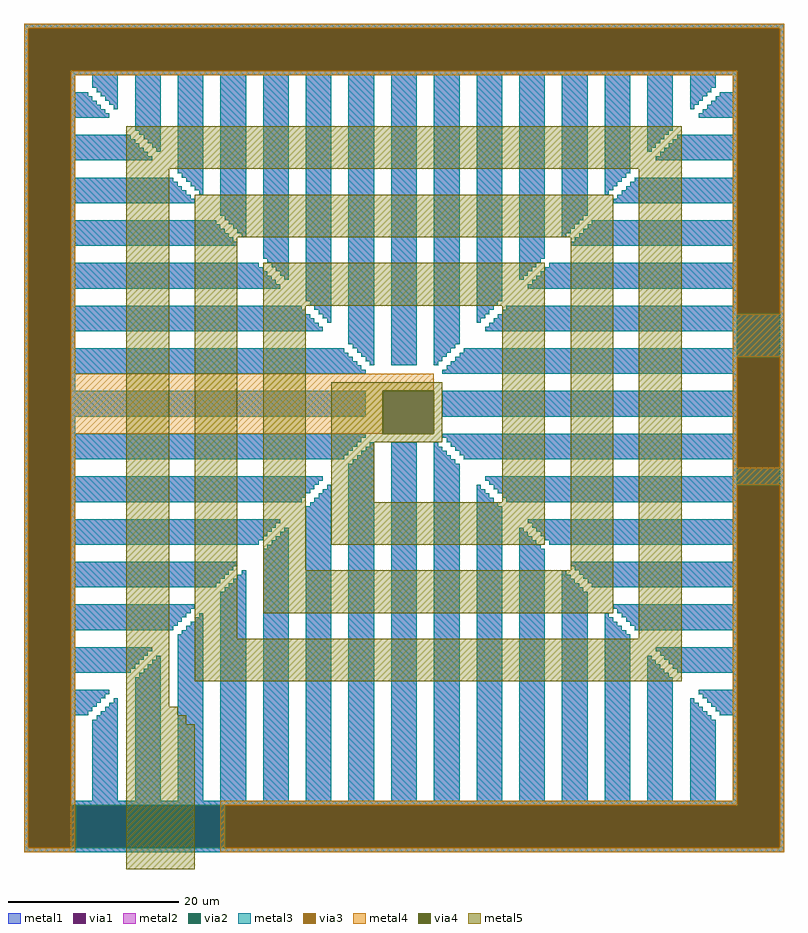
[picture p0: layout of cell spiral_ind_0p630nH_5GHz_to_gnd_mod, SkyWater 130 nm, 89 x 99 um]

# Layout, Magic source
magic
tech sky130B
<< metal1 >>
rect -1200 7650 7700 7700
rect -1200 -1950 -1150 7650
rect -650 7100 7150 7150
rect -650 6900 -600 7100
rect -400 6950 -100 7100
rect -350 6900 -100 6950
rect -650 6850 -450 6900
rect -300 6850 -100 6900
rect -650 6800 -400 6850
rect -250 6800 -100 6850
rect -650 6750 -350 6800
rect -200 6750 -100 6800
rect -650 6700 -300 6750
rect -150 6700 -100 6750
rect -650 6650 -250 6700
rect -650 6600 -200 6650
rect -650 6400 -600 6600
rect 100 6450 400 7100
rect 150 6400 400 6450
rect -650 6350 50 6400
rect 200 6350 400 6400
rect -650 6300 100 6350
rect 250 6300 400 6350
rect -650 6250 150 6300
rect 300 6250 400 6300
rect -650 6200 200 6250
rect 350 6200 400 6250
rect -650 6150 250 6200
rect -650 6100 300 6150
rect -650 5900 -600 6100
rect 600 5950 900 7100
rect 650 5900 900 5950
rect -650 5850 550 5900
rect 700 5850 900 5900
rect -650 5800 600 5850
rect 750 5800 900 5850
rect -650 5750 650 5800
rect 800 5750 900 5800
rect -650 5700 700 5750
rect 850 5700 900 5750
rect -650 5650 750 5700
rect -650 5600 800 5650
rect -650 5400 -600 5600
rect 1100 5450 1400 7100
rect 1150 5400 1400 5450
rect -650 5350 1050 5400
rect 1200 5350 1400 5400
rect -650 5300 1100 5350
rect 1250 5300 1400 5350
rect -650 5250 1150 5300
rect 1300 5250 1400 5300
rect -650 5200 1200 5250
rect 1350 5200 1400 5250
rect -650 5150 1250 5200
rect -650 5100 1300 5150
rect -650 4900 -600 5100
rect 1600 4950 1900 7100
rect 1650 4900 1900 4950
rect -650 4850 1550 4900
rect 1700 4850 1900 4900
rect -650 4800 1600 4850
rect 1750 4800 1900 4850
rect -650 4750 1650 4800
rect 1800 4750 1900 4800
rect -650 4700 1700 4750
rect 1850 4700 1900 4750
rect -650 4650 1750 4700
rect -650 4600 1800 4650
rect -650 4400 -600 4600
rect 2100 4450 2400 7100
rect 2150 4400 2400 4450
rect -650 4350 2050 4400
rect 2200 4350 2400 4400
rect -650 4300 2100 4350
rect 2250 4300 2400 4350
rect -650 4250 2150 4300
rect 2300 4250 2400 4300
rect -650 4200 2200 4250
rect 2350 4200 2400 4250
rect -650 4150 2250 4200
rect -650 4100 2300 4150
rect -650 3900 -600 4100
rect 2600 3950 2900 7100
rect 2650 3900 2900 3950
rect -650 3850 2550 3900
rect 2700 3850 2900 3900
rect -650 3800 2600 3850
rect 2750 3800 2900 3850
rect -650 3750 2650 3800
rect 2800 3750 2900 3800
rect -650 3700 2700 3750
rect 2850 3700 2900 3750
rect 3100 3700 3400 7100
rect 3600 3950 3900 7100
rect 4100 4450 4400 7100
rect 4600 4950 4900 7100
rect 5100 5450 5400 7100
rect 5600 5950 5900 7100
rect 6100 6450 6400 7100
rect 6600 6950 6900 7100
rect 6600 6900 6850 6950
rect 7100 6900 7150 7100
rect 6600 6850 6800 6900
rect 6950 6850 7150 6900
rect 6600 6800 6750 6850
rect 6900 6800 7150 6850
rect 6600 6750 6700 6800
rect 6850 6750 7150 6800
rect 6600 6700 6650 6750
rect 6800 6700 7150 6750
rect 6750 6650 7150 6700
rect 6700 6600 7150 6650
rect 6100 6400 6350 6450
rect 7100 6400 7150 6600
rect 6100 6350 6300 6400
rect 6450 6350 7150 6400
rect 6100 6300 6250 6350
rect 6400 6300 7150 6350
rect 6100 6250 6200 6300
rect 6350 6250 7150 6300
rect 6100 6200 6150 6250
rect 6300 6200 7150 6250
rect 6250 6150 7150 6200
rect 6200 6100 7150 6150
rect 5600 5900 5850 5950
rect 7100 5900 7150 6100
rect 5600 5850 5800 5900
rect 5950 5850 7150 5900
rect 5600 5800 5750 5850
rect 5900 5800 7150 5850
rect 5600 5750 5700 5800
rect 5850 5750 7150 5800
rect 5600 5700 5650 5750
rect 5800 5700 7150 5750
rect 5750 5650 7150 5700
rect 5700 5600 7150 5650
rect 5100 5400 5350 5450
rect 7100 5400 7150 5600
rect 5100 5350 5300 5400
rect 5450 5350 7150 5400
rect 5100 5300 5250 5350
rect 5400 5300 7150 5350
rect 5100 5250 5200 5300
rect 5350 5250 7150 5300
rect 5100 5200 5150 5250
rect 5300 5200 7150 5250
rect 5250 5150 7150 5200
rect 5200 5100 7150 5150
rect 4600 4900 4850 4950
rect 7100 4900 7150 5100
rect 4600 4850 4800 4900
rect 4950 4850 7150 4900
rect 4600 4800 4750 4850
rect 4900 4800 7150 4850
rect 4600 4750 4700 4800
rect 4850 4750 7150 4800
rect 4600 4700 4650 4750
rect 4800 4700 7150 4750
rect 4750 4650 7150 4700
rect 4700 4600 7150 4650
rect 4100 4400 4350 4450
rect 7100 4400 7150 4600
rect 4100 4350 4300 4400
rect 4450 4350 7150 4400
rect 4100 4300 4250 4350
rect 4400 4300 7150 4350
rect 4100 4250 4200 4300
rect 4350 4250 7150 4300
rect 4100 4200 4150 4250
rect 4300 4200 7150 4250
rect 4250 4150 7150 4200
rect 4200 4100 7150 4150
rect 3600 3900 3850 3950
rect 7100 3900 7150 4100
rect 3600 3850 3800 3900
rect 3950 3850 7150 3900
rect 3600 3800 3750 3850
rect 3900 3800 7150 3850
rect 3600 3750 3700 3800
rect 3850 3750 7150 3800
rect 3600 3700 3650 3750
rect 3800 3700 7150 3750
rect -650 3650 2750 3700
rect 3750 3650 7150 3700
rect -650 3600 2800 3650
rect 3700 3600 7150 3650
rect -650 3400 -600 3600
rect 7100 3400 7150 3600
rect -650 3100 2800 3400
rect 3700 3100 7150 3400
rect -650 2900 -600 3100
rect 7100 2900 7150 3100
rect -650 2850 2800 2900
rect 3700 2850 7150 2900
rect -650 2800 2750 2850
rect 3750 2800 7150 2850
rect -650 2750 2700 2800
rect 2850 2750 2900 2800
rect -650 2700 2650 2750
rect 2800 2700 2900 2750
rect -650 2650 2600 2700
rect 2750 2650 2900 2700
rect -650 2600 2550 2650
rect 2700 2600 2900 2650
rect -650 2400 -600 2600
rect 2650 2550 2900 2600
rect -650 2350 2300 2400
rect -650 2300 2250 2350
rect -650 2250 2200 2300
rect 2350 2250 2400 2300
rect -650 2200 2150 2250
rect 2300 2200 2400 2250
rect -650 2150 2100 2200
rect 2250 2150 2400 2200
rect -650 2100 2050 2150
rect 2200 2100 2400 2150
rect -650 1900 -600 2100
rect 2150 2050 2400 2100
rect -650 1850 1800 1900
rect -650 1800 1750 1850
rect -650 1750 1700 1800
rect 1850 1750 1900 1800
rect -650 1700 1650 1750
rect 1800 1700 1900 1750
rect -650 1650 1600 1700
rect 1750 1650 1900 1700
rect -650 1600 1550 1650
rect 1700 1600 1900 1650
rect -650 1400 -600 1600
rect 1650 1550 1900 1600
rect -650 1350 1300 1400
rect -650 1300 1250 1350
rect -650 1250 1200 1300
rect 1350 1250 1400 1300
rect -650 1200 1150 1250
rect 1300 1200 1400 1250
rect -650 1150 1100 1200
rect 1250 1150 1400 1200
rect -650 1100 1050 1150
rect 1200 1100 1400 1150
rect -650 900 -600 1100
rect 1150 1050 1400 1100
rect -650 850 800 900
rect -650 800 750 850
rect -650 750 700 800
rect 850 750 900 800
rect -650 700 650 750
rect 800 700 900 750
rect -650 650 600 700
rect 750 650 900 700
rect -650 600 550 650
rect 700 600 900 650
rect -650 400 -600 600
rect 650 550 900 600
rect -650 350 300 400
rect -650 300 250 350
rect -650 250 200 300
rect 350 250 400 300
rect -650 200 150 250
rect 300 200 400 250
rect -650 150 100 200
rect 250 150 400 200
rect -650 100 50 150
rect 200 100 400 150
rect -650 -100 -600 100
rect 150 50 400 100
rect -650 -150 -200 -100
rect -650 -200 -250 -150
rect -650 -250 -300 -200
rect -150 -250 -100 -200
rect -650 -300 -350 -250
rect -200 -300 -100 -250
rect -650 -350 -400 -300
rect -250 -350 -100 -300
rect -650 -400 -450 -350
rect -300 -400 -100 -350
rect -650 -1400 -600 -400
rect -350 -450 -100 -400
rect -400 -1400 -100 -450
rect 100 -1400 400 50
rect 600 -1400 900 550
rect 1100 -1400 1400 1050
rect 1600 -1400 1900 1550
rect 2100 -1400 2400 2050
rect 2600 -1400 2900 2550
rect 3100 -1400 3400 2800
rect 3600 2750 3650 2800
rect 3800 2750 7150 2800
rect 3600 2700 3700 2750
rect 3850 2700 7150 2750
rect 3600 2650 3750 2700
rect 3900 2650 7150 2700
rect 3600 2600 3800 2650
rect 3950 2600 7150 2650
rect 3600 2550 3850 2600
rect 3600 -1400 3900 2550
rect 7100 2400 7150 2600
rect 4200 2350 7150 2400
rect 4250 2300 7150 2350
rect 4100 2250 4150 2300
rect 4300 2250 7150 2300
rect 4100 2200 4200 2250
rect 4350 2200 7150 2250
rect 4100 2150 4250 2200
rect 4400 2150 7150 2200
rect 4100 2100 4300 2150
rect 4450 2100 7150 2150
rect 4100 2050 4350 2100
rect 4100 -1400 4400 2050
rect 7100 1900 7150 2100
rect 4700 1850 7150 1900
rect 4750 1800 7150 1850
rect 4600 1750 4650 1800
rect 4800 1750 7150 1800
rect 4600 1700 4700 1750
rect 4850 1700 7150 1750
rect 4600 1650 4750 1700
rect 4900 1650 7150 1700
rect 4600 1600 4800 1650
rect 4950 1600 7150 1650
rect 4600 1550 4850 1600
rect 4600 -1400 4900 1550
rect 7100 1400 7150 1600
rect 5200 1350 7150 1400
rect 5250 1300 7150 1350
rect 5100 1250 5150 1300
rect 5300 1250 7150 1300
rect 5100 1200 5200 1250
rect 5350 1200 7150 1250
rect 5100 1150 5250 1200
rect 5400 1150 7150 1200
rect 5100 1100 5300 1150
rect 5450 1100 7150 1150
rect 5100 1050 5350 1100
rect 5100 -1400 5400 1050
rect 7100 900 7150 1100
rect 5700 850 7150 900
rect 5750 800 7150 850
rect 5600 750 5650 800
rect 5800 750 7150 800
rect 5600 700 5700 750
rect 5850 700 7150 750
rect 5600 650 5750 700
rect 5900 650 7150 700
rect 5600 600 5800 650
rect 5950 600 7150 650
rect 5600 550 5850 600
rect 5600 -1400 5900 550
rect 7100 400 7150 600
rect 6200 350 7150 400
rect 6250 300 7150 350
rect 6100 250 6150 300
rect 6300 250 7150 300
rect 6100 200 6200 250
rect 6350 200 7150 250
rect 6100 150 6250 200
rect 6400 150 7150 200
rect 6100 100 6300 150
rect 6450 100 7150 150
rect 6100 50 6350 100
rect 6100 -1400 6400 50
rect 7100 -100 7150 100
rect 6700 -150 7150 -100
rect 6750 -200 7150 -150
rect 6600 -250 6650 -200
rect 6800 -250 7150 -200
rect 6600 -300 6700 -250
rect 6850 -300 7150 -250
rect 6600 -350 6750 -300
rect 6900 -350 7150 -300
rect 6600 -400 6800 -350
rect 6950 -400 7150 -350
rect 6600 -450 6850 -400
rect 6600 -1400 6900 -450
rect 7100 -1400 7150 -400
rect -650 -1450 7150 -1400
rect 7650 -1950 7700 7650
rect -1200 -2000 7700 -1950
<< via1 >>
rect -1150 7150 7650 7650
rect -1150 -1450 -650 7150
rect 7150 -1450 7650 7150
rect -1150 -1950 7650 -1450
<< metal2 >>
rect -1200 7650 7700 7700
rect -1200 -1950 -1150 7650
rect -650 7100 7150 7150
rect -650 6900 -600 7100
rect -400 6950 -100 7100
rect -350 6900 -100 6950
rect -650 6850 -450 6900
rect -300 6850 -100 6900
rect -650 6800 -400 6850
rect -250 6800 -100 6850
rect -650 6750 -350 6800
rect -200 6750 -100 6800
rect -650 6700 -300 6750
rect -150 6700 -100 6750
rect -650 6650 -250 6700
rect -650 6600 -200 6650
rect -650 6400 -600 6600
rect 100 6450 400 7100
rect 150 6400 400 6450
rect -650 6350 50 6400
rect 200 6350 400 6400
rect -650 6300 100 6350
rect 250 6300 400 6350
rect -650 6250 150 6300
rect 300 6250 400 6300
rect -650 6200 200 6250
rect 350 6200 400 6250
rect -650 6150 250 6200
rect -650 6100 300 6150
rect -650 5900 -600 6100
rect 600 5950 900 7100
rect 650 5900 900 5950
rect -650 5850 550 5900
rect 700 5850 900 5900
rect -650 5800 600 5850
rect 750 5800 900 5850
rect -650 5750 650 5800
rect 800 5750 900 5800
rect -650 5700 700 5750
rect 850 5700 900 5750
rect -650 5650 750 5700
rect -650 5600 800 5650
rect -650 5400 -600 5600
rect 1100 5450 1400 7100
rect 1150 5400 1400 5450
rect -650 5350 1050 5400
rect 1200 5350 1400 5400
rect -650 5300 1100 5350
rect 1250 5300 1400 5350
rect -650 5250 1150 5300
rect 1300 5250 1400 5300
rect -650 5200 1200 5250
rect 1350 5200 1400 5250
rect -650 5150 1250 5200
rect -650 5100 1300 5150
rect -650 4900 -600 5100
rect 1600 4950 1900 7100
rect 1650 4900 1900 4950
rect -650 4850 1550 4900
rect 1700 4850 1900 4900
rect -650 4800 1600 4850
rect 1750 4800 1900 4850
rect -650 4750 1650 4800
rect 1800 4750 1900 4800
rect -650 4700 1700 4750
rect 1850 4700 1900 4750
rect -650 4650 1750 4700
rect -650 4600 1800 4650
rect -650 4400 -600 4600
rect 2100 4450 2400 7100
rect 2150 4400 2400 4450
rect -650 4350 2050 4400
rect 2200 4350 2400 4400
rect -650 4300 2100 4350
rect 2250 4300 2400 4350
rect -650 4250 2150 4300
rect 2300 4250 2400 4300
rect -650 4200 2200 4250
rect 2350 4200 2400 4250
rect -650 4150 2250 4200
rect -650 4100 2300 4150
rect -650 3900 -600 4100
rect 2600 3950 2900 7100
rect 2650 3900 2900 3950
rect -650 3850 2550 3900
rect 2700 3850 2900 3900
rect -650 3800 2600 3850
rect 2750 3800 2900 3850
rect -650 3750 2650 3800
rect 2800 3750 2900 3800
rect -650 3700 2700 3750
rect 2850 3700 2900 3750
rect 3100 3700 3400 7100
rect 3600 3950 3900 7100
rect 4100 4450 4400 7100
rect 4600 4950 4900 7100
rect 5100 5450 5400 7100
rect 5600 5950 5900 7100
rect 6100 6450 6400 7100
rect 6600 6950 6900 7100
rect 6600 6900 6850 6950
rect 7100 6900 7150 7100
rect 6600 6850 6800 6900
rect 6950 6850 7150 6900
rect 6600 6800 6750 6850
rect 6900 6800 7150 6850
rect 6600 6750 6700 6800
rect 6850 6750 7150 6800
rect 6600 6700 6650 6750
rect 6800 6700 7150 6750
rect 6750 6650 7150 6700
rect 6700 6600 7150 6650
rect 6100 6400 6350 6450
rect 7100 6400 7150 6600
rect 6100 6350 6300 6400
rect 6450 6350 7150 6400
rect 6100 6300 6250 6350
rect 6400 6300 7150 6350
rect 6100 6250 6200 6300
rect 6350 6250 7150 6300
rect 6100 6200 6150 6250
rect 6300 6200 7150 6250
rect 6250 6150 7150 6200
rect 6200 6100 7150 6150
rect 5600 5900 5850 5950
rect 7100 5900 7150 6100
rect 5600 5850 5800 5900
rect 5950 5850 7150 5900
rect 5600 5800 5750 5850
rect 5900 5800 7150 5850
rect 5600 5750 5700 5800
rect 5850 5750 7150 5800
rect 5600 5700 5650 5750
rect 5800 5700 7150 5750
rect 5750 5650 7150 5700
rect 5700 5600 7150 5650
rect 5100 5400 5350 5450
rect 7100 5400 7150 5600
rect 5100 5350 5300 5400
rect 5450 5350 7150 5400
rect 5100 5300 5250 5350
rect 5400 5300 7150 5350
rect 5100 5250 5200 5300
rect 5350 5250 7150 5300
rect 5100 5200 5150 5250
rect 5300 5200 7150 5250
rect 5250 5150 7150 5200
rect 5200 5100 7150 5150
rect 4600 4900 4850 4950
rect 7100 4900 7150 5100
rect 4600 4850 4800 4900
rect 4950 4850 7150 4900
rect 4600 4800 4750 4850
rect 4900 4800 7150 4850
rect 4600 4750 4700 4800
rect 4850 4750 7150 4800
rect 4600 4700 4650 4750
rect 4800 4700 7150 4750
rect 4750 4650 7150 4700
rect 4700 4600 7150 4650
rect 4100 4400 4350 4450
rect 7100 4400 7150 4600
rect 4100 4350 4300 4400
rect 4450 4350 7150 4400
rect 4100 4300 4250 4350
rect 4400 4300 7150 4350
rect 4100 4250 4200 4300
rect 4350 4250 7150 4300
rect 4100 4200 4150 4250
rect 4300 4200 7150 4250
rect 4250 4150 7150 4200
rect 4200 4100 7150 4150
rect 3600 3900 3850 3950
rect 7100 3900 7150 4100
rect 3600 3850 3800 3900
rect 3950 3850 7150 3900
rect 3600 3800 3750 3850
rect 3900 3800 7150 3850
rect 3600 3750 3700 3800
rect 3850 3750 7150 3800
rect 3600 3700 3650 3750
rect 3800 3700 7150 3750
rect -650 3650 2750 3700
rect 3750 3650 7150 3700
rect -650 3600 2800 3650
rect 3700 3600 7150 3650
rect -650 3400 -600 3600
rect 7100 3400 7150 3600
rect -650 3100 2800 3400
rect 3700 3100 7150 3400
rect -650 2900 -600 3100
rect 7100 2900 7150 3100
rect -650 2850 2800 2900
rect 3700 2850 7150 2900
rect -650 2800 2750 2850
rect 3750 2800 7150 2850
rect -650 2750 2700 2800
rect 2850 2750 2900 2800
rect -650 2700 2650 2750
rect 2800 2700 2900 2750
rect -650 2650 2600 2700
rect 2750 2650 2900 2700
rect -650 2600 2550 2650
rect 2700 2600 2900 2650
rect -650 2400 -600 2600
rect 2650 2550 2900 2600
rect -650 2350 2300 2400
rect -650 2300 2250 2350
rect -650 2250 2200 2300
rect 2350 2250 2400 2300
rect -650 2200 2150 2250
rect 2300 2200 2400 2250
rect -650 2150 2100 2200
rect 2250 2150 2400 2200
rect -650 2100 2050 2150
rect 2200 2100 2400 2150
rect -650 1900 -600 2100
rect 2150 2050 2400 2100
rect -650 1850 1800 1900
rect -650 1800 1750 1850
rect -650 1750 1700 1800
rect 1850 1750 1900 1800
rect -650 1700 1650 1750
rect 1800 1700 1900 1750
rect -650 1650 1600 1700
rect 1750 1650 1900 1700
rect -650 1600 1550 1650
rect 1700 1600 1900 1650
rect -650 1400 -600 1600
rect 1650 1550 1900 1600
rect -650 1350 1300 1400
rect -650 1300 1250 1350
rect -650 1250 1200 1300
rect 1350 1250 1400 1300
rect -650 1200 1150 1250
rect 1300 1200 1400 1250
rect -650 1150 1100 1200
rect 1250 1150 1400 1200
rect -650 1100 1050 1150
rect 1200 1100 1400 1150
rect -650 900 -600 1100
rect 1150 1050 1400 1100
rect -650 850 800 900
rect -650 800 750 850
rect -650 750 700 800
rect 850 750 900 800
rect -650 700 650 750
rect 800 700 900 750
rect -650 650 600 700
rect 750 650 900 700
rect -650 600 550 650
rect 700 600 900 650
rect -650 400 -600 600
rect 650 550 900 600
rect -650 350 300 400
rect -650 300 250 350
rect -650 250 200 300
rect 350 250 400 300
rect -650 200 150 250
rect 300 200 400 250
rect -650 150 100 200
rect 250 150 400 200
rect -650 100 50 150
rect 200 100 400 150
rect -650 -100 -600 100
rect 150 50 400 100
rect -650 -150 -200 -100
rect -650 -200 -250 -150
rect -650 -250 -300 -200
rect -150 -250 -100 -200
rect -650 -300 -350 -250
rect -200 -300 -100 -250
rect -650 -350 -400 -300
rect -250 -350 -100 -300
rect -650 -400 -450 -350
rect -300 -400 -100 -350
rect -650 -1400 -600 -400
rect -350 -450 -100 -400
rect -400 -1400 -100 -450
rect 100 -1400 400 50
rect 600 -1400 900 550
rect 1100 -1400 1400 1050
rect 1600 -1400 1900 1550
rect 2100 -1400 2400 2050
rect 2600 -1400 2900 2550
rect 3100 -1400 3400 2800
rect 3600 2750 3650 2800
rect 3800 2750 7150 2800
rect 3600 2700 3700 2750
rect 3850 2700 7150 2750
rect 3600 2650 3750 2700
rect 3900 2650 7150 2700
rect 3600 2600 3800 2650
rect 3950 2600 7150 2650
rect 3600 2550 3850 2600
rect 3600 -1400 3900 2550
rect 7100 2400 7150 2600
rect 4200 2350 7150 2400
rect 4250 2300 7150 2350
rect 4100 2250 4150 2300
rect 4300 2250 7150 2300
rect 4100 2200 4200 2250
rect 4350 2200 7150 2250
rect 4100 2150 4250 2200
rect 4400 2150 7150 2200
rect 4100 2100 4300 2150
rect 4450 2100 7150 2150
rect 4100 2050 4350 2100
rect 4100 -1400 4400 2050
rect 7100 1900 7150 2100
rect 4700 1850 7150 1900
rect 4750 1800 7150 1850
rect 4600 1750 4650 1800
rect 4800 1750 7150 1800
rect 4600 1700 4700 1750
rect 4850 1700 7150 1750
rect 4600 1650 4750 1700
rect 4900 1650 7150 1700
rect 4600 1600 4800 1650
rect 4950 1600 7150 1650
rect 4600 1550 4850 1600
rect 4600 -1400 4900 1550
rect 7100 1400 7150 1600
rect 5200 1350 7150 1400
rect 5250 1300 7150 1350
rect 5100 1250 5150 1300
rect 5300 1250 7150 1300
rect 5100 1200 5200 1250
rect 5350 1200 7150 1250
rect 5100 1150 5250 1200
rect 5400 1150 7150 1200
rect 5100 1100 5300 1150
rect 5450 1100 7150 1150
rect 5100 1050 5350 1100
rect 5100 -1400 5400 1050
rect 7100 900 7150 1100
rect 5700 850 7150 900
rect 5750 800 7150 850
rect 5600 750 5650 800
rect 5800 750 7150 800
rect 5600 700 5700 750
rect 5850 700 7150 750
rect 5600 650 5750 700
rect 5900 650 7150 700
rect 5600 600 5800 650
rect 5950 600 7150 650
rect 5600 550 5850 600
rect 5600 -1400 5900 550
rect 7100 400 7150 600
rect 6200 350 7150 400
rect 6250 300 7150 350
rect 6100 250 6150 300
rect 6300 250 7150 300
rect 6100 200 6200 250
rect 6350 200 7150 250
rect 6100 150 6250 200
rect 6400 150 7150 200
rect 6100 100 6300 150
rect 6450 100 7150 150
rect 6100 50 6350 100
rect 6100 -1400 6400 50
rect 7100 -100 7150 100
rect 6700 -150 7150 -100
rect 6750 -200 7150 -150
rect 6600 -250 6650 -200
rect 6800 -250 7150 -200
rect 6600 -300 6700 -250
rect 6850 -300 7150 -250
rect 6600 -350 6750 -300
rect 6900 -350 7150 -300
rect 6600 -400 6800 -350
rect 6950 -400 7150 -350
rect 6600 -450 6850 -400
rect 6600 -1400 6900 -450
rect 7100 -1400 7150 -400
rect -650 -1450 7150 -1400
rect 7650 -1950 7700 7650
rect -1200 -2000 7700 -1950
<< via2 >>
rect -1150 7150 7650 7650
rect -1150 -1450 -650 7150
rect 7150 -1450 7650 7150
rect -1150 -1950 7650 -1450
<< metal3 >>
rect -1200 7650 7700 7700
rect -1200 -1950 -1150 7650
rect -650 7100 7150 7150
rect -650 6900 -600 7100
rect -400 6950 -100 7100
rect -350 6900 -100 6950
rect -650 6850 -450 6900
rect -300 6850 -100 6900
rect -650 6800 -400 6850
rect -250 6800 -100 6850
rect -650 6750 -350 6800
rect -200 6750 -100 6800
rect -650 6700 -300 6750
rect -150 6700 -100 6750
rect -650 6650 -250 6700
rect -650 6600 -200 6650
rect -650 6400 -600 6600
rect 100 6450 400 7100
rect 150 6400 400 6450
rect -650 6350 50 6400
rect 200 6350 400 6400
rect -650 6300 100 6350
rect 250 6300 400 6350
rect -650 6250 150 6300
rect 300 6250 400 6300
rect -650 6200 200 6250
rect 350 6200 400 6250
rect -650 6150 250 6200
rect -650 6100 300 6150
rect -650 5900 -600 6100
rect 600 5950 900 7100
rect 650 5900 900 5950
rect -650 5850 550 5900
rect 700 5850 900 5900
rect -650 5800 600 5850
rect 750 5800 900 5850
rect -650 5750 650 5800
rect 800 5750 900 5800
rect -650 5700 700 5750
rect 850 5700 900 5750
rect -650 5650 750 5700
rect -650 5600 800 5650
rect -650 5400 -600 5600
rect 1100 5450 1400 7100
rect 1150 5400 1400 5450
rect -650 5350 1050 5400
rect 1200 5350 1400 5400
rect -650 5300 1100 5350
rect 1250 5300 1400 5350
rect -650 5250 1150 5300
rect 1300 5250 1400 5300
rect -650 5200 1200 5250
rect 1350 5200 1400 5250
rect -650 5150 1250 5200
rect -650 5100 1300 5150
rect -650 4900 -600 5100
rect 1600 4950 1900 7100
rect 1650 4900 1900 4950
rect -650 4850 1550 4900
rect 1700 4850 1900 4900
rect -650 4800 1600 4850
rect 1750 4800 1900 4850
rect -650 4750 1650 4800
rect 1800 4750 1900 4800
rect -650 4700 1700 4750
rect 1850 4700 1900 4750
rect -650 4650 1750 4700
rect -650 4600 1800 4650
rect -650 4400 -600 4600
rect 2100 4450 2400 7100
rect 2150 4400 2400 4450
rect -650 4350 2050 4400
rect 2200 4350 2400 4400
rect -650 4300 2100 4350
rect 2250 4300 2400 4350
rect -650 4250 2150 4300
rect 2300 4250 2400 4300
rect -650 4200 2200 4250
rect 2350 4200 2400 4250
rect -650 4150 2250 4200
rect -650 4100 2300 4150
rect -650 3900 -600 4100
rect 2600 3950 2900 7100
rect 2650 3900 2900 3950
rect -650 3850 2550 3900
rect 2700 3850 2900 3900
rect -650 3800 2600 3850
rect 2750 3800 2900 3850
rect -650 3750 2650 3800
rect 2800 3750 2900 3800
rect -650 3700 2700 3750
rect 2850 3700 2900 3750
rect 3100 3700 3400 7100
rect 3600 3950 3900 7100
rect 4100 4450 4400 7100
rect 4600 4950 4900 7100
rect 5100 5450 5400 7100
rect 5600 5950 5900 7100
rect 6100 6450 6400 7100
rect 6600 6950 6900 7100
rect 6600 6900 6850 6950
rect 7100 6900 7150 7100
rect 6600 6850 6800 6900
rect 6950 6850 7150 6900
rect 6600 6800 6750 6850
rect 6900 6800 7150 6850
rect 6600 6750 6700 6800
rect 6850 6750 7150 6800
rect 6600 6700 6650 6750
rect 6800 6700 7150 6750
rect 6750 6650 7150 6700
rect 6700 6600 7150 6650
rect 6100 6400 6350 6450
rect 7100 6400 7150 6600
rect 6100 6350 6300 6400
rect 6450 6350 7150 6400
rect 6100 6300 6250 6350
rect 6400 6300 7150 6350
rect 6100 6250 6200 6300
rect 6350 6250 7150 6300
rect 6100 6200 6150 6250
rect 6300 6200 7150 6250
rect 6250 6150 7150 6200
rect 6200 6100 7150 6150
rect 5600 5900 5850 5950
rect 7100 5900 7150 6100
rect 5600 5850 5800 5900
rect 5950 5850 7150 5900
rect 5600 5800 5750 5850
rect 5900 5800 7150 5850
rect 5600 5750 5700 5800
rect 5850 5750 7150 5800
rect 5600 5700 5650 5750
rect 5800 5700 7150 5750
rect 5750 5650 7150 5700
rect 5700 5600 7150 5650
rect 5100 5400 5350 5450
rect 7100 5400 7150 5600
rect 5100 5350 5300 5400
rect 5450 5350 7150 5400
rect 5100 5300 5250 5350
rect 5400 5300 7150 5350
rect 5100 5250 5200 5300
rect 5350 5250 7150 5300
rect 5100 5200 5150 5250
rect 5300 5200 7150 5250
rect 5250 5150 7150 5200
rect 5200 5100 7150 5150
rect 4600 4900 4850 4950
rect 7100 4900 7150 5100
rect 4600 4850 4800 4900
rect 4950 4850 7150 4900
rect 4600 4800 4750 4850
rect 4900 4800 7150 4850
rect 4600 4750 4700 4800
rect 4850 4750 7150 4800
rect 4600 4700 4650 4750
rect 4800 4700 7150 4750
rect 4750 4650 7150 4700
rect 4700 4600 7150 4650
rect 4100 4400 4350 4450
rect 7100 4400 7150 4600
rect 4100 4350 4300 4400
rect 4450 4350 7150 4400
rect 4100 4300 4250 4350
rect 4400 4300 7150 4350
rect 4100 4250 4200 4300
rect 4350 4250 7150 4300
rect 4100 4200 4150 4250
rect 4300 4200 7150 4250
rect 4250 4150 7150 4200
rect 4200 4100 7150 4150
rect 3600 3900 3850 3950
rect 7100 3900 7150 4100
rect 3600 3850 3800 3900
rect 3950 3850 7150 3900
rect 3600 3800 3750 3850
rect 3900 3800 7150 3850
rect 3600 3750 3700 3800
rect 3850 3750 7150 3800
rect 3600 3700 3650 3750
rect 3800 3700 7150 3750
rect -650 3650 2750 3700
rect 3750 3650 7150 3700
rect -650 3600 2800 3650
rect 3700 3600 7150 3650
rect -650 3400 -600 3600
rect 7100 3400 7150 3600
rect -650 3100 2800 3400
rect 3700 3100 7150 3400
rect -650 2900 -600 3100
rect 7100 2900 7150 3100
rect -650 2850 2800 2900
rect 3700 2850 7150 2900
rect -650 2800 2750 2850
rect 3750 2800 7150 2850
rect -650 2750 2700 2800
rect 2850 2750 2900 2800
rect -650 2700 2650 2750
rect 2800 2700 2900 2750
rect -650 2650 2600 2700
rect 2750 2650 2900 2700
rect -650 2600 2550 2650
rect 2700 2600 2900 2650
rect -650 2400 -600 2600
rect 2650 2550 2900 2600
rect -650 2350 2300 2400
rect -650 2300 2250 2350
rect -650 2250 2200 2300
rect 2350 2250 2400 2300
rect -650 2200 2150 2250
rect 2300 2200 2400 2250
rect -650 2150 2100 2200
rect 2250 2150 2400 2200
rect -650 2100 2050 2150
rect 2200 2100 2400 2150
rect -650 1900 -600 2100
rect 2150 2050 2400 2100
rect -650 1850 1800 1900
rect -650 1800 1750 1850
rect -650 1750 1700 1800
rect 1850 1750 1900 1800
rect -650 1700 1650 1750
rect 1800 1700 1900 1750
rect -650 1650 1600 1700
rect 1750 1650 1900 1700
rect -650 1600 1550 1650
rect 1700 1600 1900 1650
rect -650 1400 -600 1600
rect 1650 1550 1900 1600
rect -650 1350 1300 1400
rect -650 1300 1250 1350
rect -650 1250 1200 1300
rect 1350 1250 1400 1300
rect -650 1200 1150 1250
rect 1300 1200 1400 1250
rect -650 1150 1100 1200
rect 1250 1150 1400 1200
rect -650 1100 1050 1150
rect 1200 1100 1400 1150
rect -650 900 -600 1100
rect 1150 1050 1400 1100
rect -650 850 800 900
rect -650 800 750 850
rect -650 750 700 800
rect 850 750 900 800
rect -650 700 650 750
rect 800 700 900 750
rect -650 650 600 700
rect 750 650 900 700
rect -650 600 550 650
rect 700 600 900 650
rect -650 400 -600 600
rect 650 550 900 600
rect -650 350 300 400
rect -650 300 250 350
rect -650 250 200 300
rect 350 250 400 300
rect -650 200 150 250
rect 300 200 400 250
rect -650 150 100 200
rect 250 150 400 200
rect -650 100 50 150
rect 200 100 400 150
rect -650 -100 -600 100
rect 150 50 400 100
rect -650 -150 -200 -100
rect -650 -200 -250 -150
rect -650 -250 -300 -200
rect -150 -250 -100 -200
rect -650 -300 -350 -250
rect -200 -300 -100 -250
rect -650 -350 -400 -300
rect -250 -350 -100 -300
rect -650 -400 -450 -350
rect -300 -400 -100 -350
rect -650 -1400 -600 -400
rect -350 -450 -100 -400
rect -400 -1400 -100 -450
rect 100 -1400 400 50
rect 600 -1400 900 550
rect 1100 -1400 1400 1050
rect 1600 -1400 1900 1550
rect 2100 -1400 2400 2050
rect 2600 -1400 2900 2550
rect 3100 -1400 3400 2800
rect 3600 2750 3650 2800
rect 3800 2750 7150 2800
rect 3600 2700 3700 2750
rect 3850 2700 7150 2750
rect 3600 2650 3750 2700
rect 3900 2650 7150 2700
rect 3600 2600 3800 2650
rect 3950 2600 7150 2650
rect 3600 2550 3850 2600
rect 3600 -1400 3900 2550
rect 7100 2400 7150 2600
rect 4200 2350 7150 2400
rect 4250 2300 7150 2350
rect 4100 2250 4150 2300
rect 4300 2250 7150 2300
rect 4100 2200 4200 2250
rect 4350 2200 7150 2250
rect 4100 2150 4250 2200
rect 4400 2150 7150 2200
rect 4100 2100 4300 2150
rect 4450 2100 7150 2150
rect 4100 2050 4350 2100
rect 4100 -1400 4400 2050
rect 7100 1900 7150 2100
rect 4700 1850 7150 1900
rect 4750 1800 7150 1850
rect 4600 1750 4650 1800
rect 4800 1750 7150 1800
rect 4600 1700 4700 1750
rect 4850 1700 7150 1750
rect 4600 1650 4750 1700
rect 4900 1650 7150 1700
rect 4600 1600 4800 1650
rect 4950 1600 7150 1650
rect 4600 1550 4850 1600
rect 4600 -1400 4900 1550
rect 7100 1400 7150 1600
rect 5200 1350 7150 1400
rect 5250 1300 7150 1350
rect 5100 1250 5150 1300
rect 5300 1250 7150 1300
rect 5100 1200 5200 1250
rect 5350 1200 7150 1250
rect 5100 1150 5250 1200
rect 5400 1150 7150 1200
rect 5100 1100 5300 1150
rect 5450 1100 7150 1150
rect 5100 1050 5350 1100
rect 5100 -1400 5400 1050
rect 7100 900 7150 1100
rect 5700 850 7150 900
rect 5750 800 7150 850
rect 5600 750 5650 800
rect 5800 750 7150 800
rect 5600 700 5700 750
rect 5850 700 7150 750
rect 5600 650 5750 700
rect 5900 650 7150 700
rect 5600 600 5800 650
rect 5950 600 7150 650
rect 5600 550 5850 600
rect 5600 -1400 5900 550
rect 7100 400 7150 600
rect 6200 350 7150 400
rect 6250 300 7150 350
rect 6100 250 6150 300
rect 6300 250 7150 300
rect 6100 200 6200 250
rect 6350 200 7150 250
rect 6100 150 6250 200
rect 6400 150 7150 200
rect 6100 100 6300 150
rect 6450 100 7150 150
rect 6100 50 6350 100
rect 6100 -1400 6400 50
rect 7100 -100 7150 100
rect 6700 -150 7150 -100
rect 6750 -200 7150 -150
rect 6600 -250 6650 -200
rect 6800 -250 7150 -200
rect 6600 -300 6700 -250
rect 6850 -300 7150 -250
rect 6600 -350 6750 -300
rect 6900 -350 7150 -300
rect 6600 -400 6800 -350
rect 6950 -400 7150 -350
rect 6600 -450 6850 -400
rect 6600 -1400 6900 -450
rect 7100 -1400 7150 -400
rect -650 -1450 7150 -1400
rect 7650 -1950 7700 7650
rect -1200 -2000 7700 -1950
<< via3 >>
rect -1150 7150 7650 7650
rect -1150 -1950 -650 7150
rect 7150 4300 7650 7150
rect 7150 2500 7650 3800
rect 7150 -1450 7650 2300
rect 1150 -1950 7650 -1450
<< metal4 >>
rect -1200 7650 7700 7700
rect -1200 -1950 -1150 7650
rect -650 7100 7150 7150
rect -650 3600 -600 7100
rect 7100 4300 7150 7100
rect 7650 4300 7700 7650
rect 7100 3800 7700 4300
rect -650 3400 3600 3600
rect -650 2900 3000 3400
rect -650 -1950 -600 2900
rect 7100 2500 7150 3800
rect 7650 2500 7700 3800
rect 7100 2300 7700 2500
rect 7100 -1400 7150 2300
rect -1200 -2000 -600 -1950
rect 1100 -1450 7150 -1400
rect 1100 -1950 1150 -1450
rect 7650 -1950 7700 2300
rect 1100 -2000 7700 -1950
<< via4 >>
rect 3000 2900 3600 3400
<< metal5 >>
rect 0 6000 6500 6500
rect 0 -300 500 6000
rect 800 5200 5700 5700
rect 800 500 1300 5200
rect 1600 4400 4900 4900
rect 1600 1300 2100 4400
rect 2400 3400 3700 3500
rect 2400 2900 3000 3400
rect 3600 2900 3700 3400
rect 2400 2800 3700 2900
rect 2400 2100 2900 2800
rect 4400 2100 4900 4400
rect 2400 1600 4900 2100
rect 5200 1300 5700 5200
rect 1600 800 5700 1300
rect 6000 500 6500 6000
rect 800 0 6500 500
rect 0 -400 600 -300
rect 0 -500 700 -400
rect 0 -2200 800 -500
<< end >>
